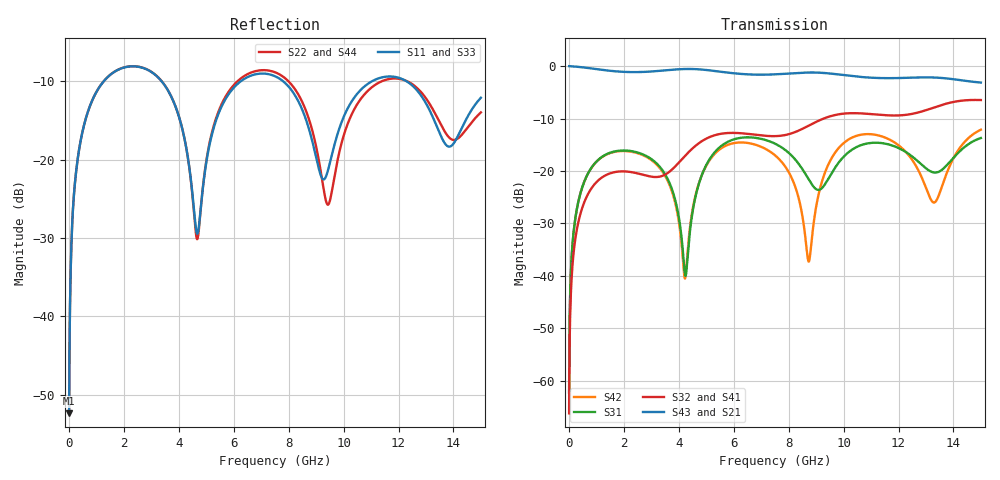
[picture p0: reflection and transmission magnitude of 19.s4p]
! Created with skrf 1.8.0 (http://scikit-rf.org).
# GHz S RI R 50.0
!freq ReS11 ImS11 ReS12 ImS12 ReS13 ImS13
! ReS14 ImS14
! ReS21 ImS21 ReS22 ImS22 ReS23 ImS23
! ReS24 ImS24
! ReS31 ImS31 ReS32 ImS32 ReS33 ImS33
! ReS34 ImS34
! ReS41 ImS41 ReS42 ImS42 ReS43 ImS43
! ReS44 ImS44
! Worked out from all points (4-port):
!   2499 points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, 5 MHz to 15 GHz, reference 50 ohm
!   strongest paths, dB at 5 MHz, 3.476 GHz, 7.19 GHz, 11.1 GHz, 15 GHz:
!     S43: 0.0, -0.8, -1.6, -2.2, -3.1
!     S21: 0.0, -0.8, -1.6, -2.2, -3.2
!     S32: -66.2, -20.8, -13.3, -9.2, -6.5
!     S41: -66.2, -20.8, -13.3, -9.2, -6.5
!     S31: -62.2, -20.4, -14.1, -14.6, -13.7
!     S42: -62.2, -20.7, -15.9, -13.0, -12.1
!   lowest |S11| = -52.4 dB at 5 MHz (marker M1), VSWR 1.00, Z = 50.2 + j0.146 ohm
!   |S11| at or under -10 dB: 3.367 GHz to 6.266 GHz (2.899 GHz wide, 60.2 % of centre); 7.789 GHz to 11.05 GHz (3.258 GHz wide, 34.6 % of centre); 12.28 GHz to end of sweep (the widest 3 of 4)
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0.005  0.00192 0.00146  0.998 -0.00374  9.76e-05 0.000768  -9.47e-05 -0.000481
       0.998 -0.00374  0.00192 0.00146  -9.47e-05 -0.000481  9.75e-05 0.000768
       9.76e-05 0.000768  -9.47e-05 -0.000481  0.00192 0.00146  0.998 -0.00374
       -9.47e-05 -0.000481  9.75e-05 0.000768  0.998 -0.00374  0.00192 0.00146
0.3126303  0.0314 0.0944  0.9569 -0.2308  0.015 0.0446  -0.0123 -0.0274
           0.9569 -0.2308  0.0315 0.0944  -0.0123 -0.0274  0.0147 0.0447
           0.015 0.0446  -0.0123 -0.0274  0.0314 0.0944  0.9569 -0.2308
           -0.0123 -0.0274  0.0147 0.0447  0.9569 -0.2308  0.0315 0.0944
1.3193  0.2693 0.1786  0.551 -0.7276  0.1292 0.06  -0.0904 -0.00665
        0.551 -0.7276  0.2702 0.1779  -0.0904 -0.00661  0.1264 0.0638
        0.1292 0.06  -0.0904 -0.00661  0.2692 0.1786  0.5511 -0.7276
        -0.0904 -0.00665  0.1264 0.0638  0.5511 -0.7276  0.2702 0.1779
4.545909  0.0348 -0.0349  -0.9258 -0.1428  -0.00219 0.0477  -0.0231 0.1668
          -0.9258 -0.1428  0.032 -0.0347  -0.0222 0.1669  -0.00744 0.0489
          -0.00219 0.0477  -0.0222 0.1669  0.0356 -0.0335  -0.9259 -0.1427
          -0.0231 0.1668  -0.00744 0.0489  -0.9259 -0.1427  0.0307 -0.0334
9.410171  0.0782 0.0271  0.8484 0.1008  -0.035 0.0735  0.0308 -0.3245
          0.8484 0.1008  0.0508 -0.00943  0.0278 -0.3246  0.0494 0.0984
          -0.035 0.0735  0.0278 -0.3246  0.0791 0.0284  0.8482 0.1028
          0.0308 -0.3245  0.0494 0.0984  0.8482 0.1028  0.0499 -0.00755
12.20509  0.3141 -0.0692  -0.0587 -0.7699  0.0793 -0.1334  -0.3337 0.0709
          -0.0587 -0.7699  0.3169 -0.0518  -0.3331 0.0751  0.0947 -0.1262
          0.0793 -0.1334  -0.3331 0.0751  0.3159 -0.0686  -0.0535 -0.7698
          -0.3337 0.0709  0.0947 -0.1262  -0.0535 -0.7698  0.3196 -0.0488
15  0.2312 0.0885  -0.65 0.2455  0.1318 0.1588  0.2206 0.4192
    -0.65 0.2455  0.1953 0.0415  0.2269 0.4169  0.2098 0.1315
    0.1318 0.1588  0.2269 0.4169  0.2264 0.0835  -0.655 0.2366
    0.2206 0.4192  0.2098 0.1315  -0.655 0.2366  0.1934 0.0394
